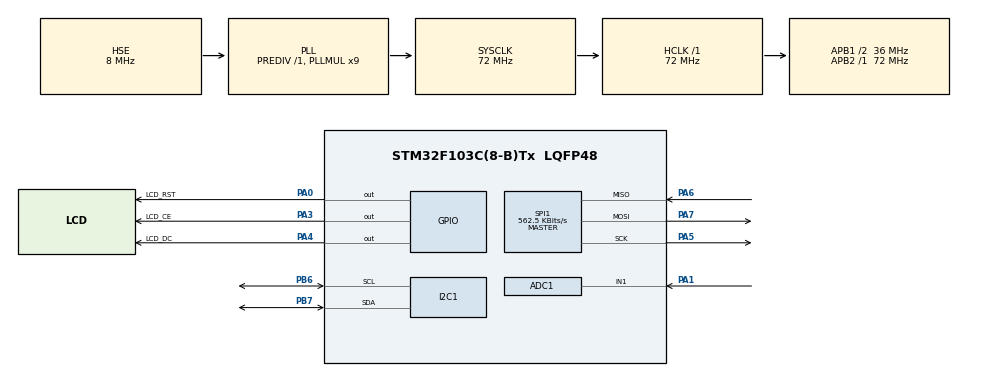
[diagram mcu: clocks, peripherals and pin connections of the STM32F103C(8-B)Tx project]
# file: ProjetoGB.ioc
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ADC1.Channel-0\#ChannelRegularConversion=ADC_CHANNEL_1
ADC1.NbrOfConversionFlag=1
ADC1.Rank-0\#ChannelRegularConversion=1
ADC1.SamplingTime-0\#ChannelRegularConversion=ADC_SAMPLETIME_1CYCLE_5
ADC1.master=1
FREERTOS.Mutexes01=i2cMutex,Dynamic,NULL
FREERTOS.Tasks01=iluminanciaTask,24,128,StartIluminanciaTask,Default,NULL,Dynamic,NULL,NULL;envioTask,24,128,StartEnvioTask,Default,NULL,Dynamic,NULL,NULL;umidadeTask,24,128,StartUmidadeTask,Default,NULL,Dynamic,NULL,NULL;temperaturaTask,24,128,StartTemperaturaTask,Default,NULL,Dynamic,NULL,NULL
Mcu.Family=STM32F1
Mcu.Name=STM32F103C(8-B)Tx
Mcu.Package=LQFP48
NVIC.PriorityGroup=NVIC_PRIORITYGROUP_4
NVIC.TIM1_UP_IRQn=true\:15\:0\:false\:false\:true\:false\:false\:true\:true
NVIC.TIM2_IRQn=true\:5\:0\:false\:false\:true\:true\:true\:true\:true
NVIC.TIM3_IRQn=true\:5\:0\:false\:false\:true\:true\:true\:true\:true
NVIC.TimeBase=TIM1_UP_IRQn
NVIC.TimeBaseIP=TIM1
PA0-WKUP.GPIO_Label=LCD_RST
PA0-WKUP.Signal=GPIO_Output
PA1.Signal=ADCx_IN1
PA13.Mode=Serial_Wire
PA13.Signal=SYS_JTMS-SWDIO
PA14.Mode=Serial_Wire
PA14.Signal=SYS_JTCK-SWCLK
PA3.GPIO_Label=LCD_CE
PA3.Signal=GPIO_Output
PA4.GPIO_Label=LCD_DC
PA4.Signal=GPIO_Output
PA5.Mode=Full_Duplex_Master
PA5.Signal=SPI1_SCK
PA6.Mode=Full_Duplex_Master
PA6.Signal=SPI1_MISO
PA7.Mode=Full_Duplex_Master
PA7.Signal=SPI1_MOSI
PB6.Mode=I2C
PB6.Signal=I2C1_SCL
PB7.Mode=I2C
PB7.Signal=I2C1_SDA
PD0-OSC_IN.Mode=HSE-External-Oscillator
PD0-OSC_IN.Signal=RCC_OSC_IN
PD1-OSC_OUT.Mode=HSE-External-Oscillator
PD1-OSC_OUT.Signal=RCC_OSC_OUT
ProjectManager.HeapSize=0x200
ProjectManager.StackSize=0x400
ProjectManager.TargetToolchain=STM32CubeIDE
RCC.ADCPresc=RCC_ADCPCLK2_DIV6
RCC.AHBFreq_Value=72000000
RCC.APB1CLKDivider=RCC_HCLK_DIV2
RCC.APB1Freq_Value=36000000
RCC.APB1TimFreq_Value=72000000
RCC.APB2Freq_Value=72000000
RCC.APB2TimFreq_Value=72000000
RCC.HCLKFreq_Value=72000000
RCC.PLLMUL=RCC_PLL_MUL9
RCC.PLLSourceVirtual=RCC_PLLSOURCE_HSE
RCC.SYSCLKFreq_VALUE=72000000
RCC.SYSCLKSource=RCC_SYSCLKSOURCE_PLLCLK
RCC.USBFreq_Value=72000000
SH.ADCx_IN1.0=ADC1_IN1,IN1
SPI1.BaudRatePrescaler=SPI_BAUDRATEPRESCALER_128
SPI1.CalculateBaudRate=562.5 KBits/s
SPI1.Direction=SPI_DIRECTION_2LINES
SPI1.Mode=SPI_MODE_MASTER
SPI1.VirtualType=VM_MASTER
TIM2.Period=12000
TIM2.Prescaler=60000
TIM3.Period=216
TIM3.Prescaler=60000
VP_FREERTOS_VS_CMSIS_V2.Mode=CMSIS_V2
VP_SYS_VS_tim1.Mode=TIM1
VP_TIM2_VS_ClockSourceINT.Mode=Internal
VP_TIM3_VS_ClockSourceINT.Mode=Internal
board=custom

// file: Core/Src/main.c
/* USER CODE BEGIN Header */
/**
  ******************************************************************************
  * @file           : main.c
  * @brief          : Main program body
  ******************************************************************************
  * @attention
  *
  * Copyright (c) 2022 STMicroelectronics.
  * All rights reserved.
  *
  * This software is licensed under terms that can be found in the LICENSE file
  * in the root directory of this software component.
  * If no LICENSE file comes with this software, it is provided AS-IS.
  *
  ******************************************************************************
  */
/* USER CODE END Header */
#include "main.h"
#include "cmsis_os.h"

/* USER CODE BEGIN Includes */
#include <stdio.h>
#include <string.h>
#include <stdbool.h>
#include "user_5110.h"
#include "bmp280.h"
/* USER CODE END Includes */

/* USER CODE BEGIN PD */
#define BH1750_I2CADDR 0x23 << 1
#define ESP32_I2C_ADRESS 0x55 << 1
/* USER CODE END PD */

 ADC_HandleTypeDef hadc1;

I2C_HandleTypeDef hi2c1;

SPI_HandleTypeDef hspi1;

TIM_HandleTypeDef htim2;
TIM_HandleTypeDef htim3;

/* Definitions for iluminanciaTask */
osThreadId_t iluminanciaTaskHandle;
const osThreadAttr_t iluminanciaTask_attributes = {
  .name = "iluminanciaTask",
  .stack_size = 128 * 4,
  .priority = (osPriority_t) osPriorityNormal,
};
/* Definitions for envioTask */
osThreadId_t envioTaskHandle;
const osThreadAttr_t envioTask_attributes = {
  .name = "envioTask",
  .stack_size = 128 * 4,
  .priority = (osPriority_t) osPriorityNormal,
};
/* Definitions for umidadeTask */
osThreadId_t umidadeTaskHandle;
const osThreadAttr_t umidadeTask_attributes = {
  .name = "umidadeTask",
  .stack_size = 128 * 4,
  .priority = (osPriority_t) osPriorityNormal,
};
/* Definitions for temperaturaTask */
osThreadId_t temperaturaTaskHandle;
const osThreadAttr_t temperaturaTask_attributes = {
  .name = "temperaturaTask",
  .stack_size = 128 * 4,
  .priority = (osPriority_t) osPriorityNormal,
};
/* Definitions for i2cMutex */
osMutexId_t i2cMutexHandle;
const osMutexAttr_t i2cMutex_attributes = {
  .name = "i2cMutex"
};
/* USER CODE BEGIN PV */
BMP280_HandleTypedef bmp280;

uint16_t ad_res = 0;

uint8_t dados[7];

uint8_t umidade = 0;
bool ler_umidade = false;
bool umidade_lida = false;

uint16_t iluminancia = 0;
bool ler_iluminancia = false;
bool iluminancia_lida = false;

int32_t temperatura = 0;
bool ler_temperatura = false;
bool temperatura_lida = false;

bool enviar_dados = false;
bool teste = true;

uint8_t rx_byte[2];
uint8_t tx_byte[2];
char lcd_string[20];
/* USER CODE END PV */

void SystemClock_Config(void);
static void MX_GPIO_Init(void);
static void MX_ADC1_Init(void);
static void MX_I2C1_Init(void);
static void MX_SPI1_Init(void);
static void MX_TIM2_Init(void);
static void MX_TIM3_Init(void);
void StartIluminanciaTask(void *argument);
void StartEnvioTask(void *argument);
void StartUmidadeTask(void *argument);
void StartTemperaturaTask(void *argument);

/* USER CODE BEGIN PFP */
uint map(uint in, uint in_min, uint in_max, uint out_min, uint out_max);
/* USER CODE END PFP */

int main(void)
{

  /* MCU Configuration--------------------------------------------------------*/

  /* Reset of all peripherals, Initializes the Flash interface and the Systick. */
  HAL_Init();

  /* Configure the system clock */
  SystemClock_Config();

  /* Initialize all configured peripherals */
  MX_GPIO_Init();
  MX_ADC1_Init();
  MX_I2C1_Init();
  MX_SPI1_Init();
  MX_TIM2_Init();
  MX_TIM3_Init();
  /* USER CODE BEGIN 2 */
  LCD_Init();

  HAL_ADCEx_Calibration_Start(&hadc1);

  bmp280.addr = BMP280_I2C_ADDRESS_0;
  bmp280.i2c = &hi2c1;
  bmp280.params.mode = BMP280_MODE_NORMAL;
  bmp280.params.filter = BMP280_FILTER_OFF;
  bmp280.params.oversampling_pressure = BMP280_SKIPPED;
  bmp280.params.oversampling_temperature = BMP280_ULTRA_LOW_POWER;
  bmp280.params.oversampling_humidity = BMP280_SKIPPED;
  bmp280.params.standby = BMP280_STANDBY_4000;

  while (!(bmp280_init(&bmp280, &bmp280.params)))
  {
	  HAL_Delay(2000);
  }

  HAL_TIM_Base_Start_IT(&htim2);
  /* USER CODE END 2 */

  /* Init scheduler */
  osKernelInitialize();
  /* Create the mutex(es) */
  /* creation of i2cMutex */
  i2cMutexHandle = osMutexNew(&i2cMutex_attributes);

  /* Create the thread(s) */
  /* creation of iluminanciaTask */
  iluminanciaTaskHandle = osThreadNew(StartIluminanciaTask, NULL, &iluminanciaTask_attributes);

  /* creation of envioTask */
  envioTaskHandle = osThreadNew(StartEnvioTask, NULL, &envioTask_attributes);

  /* creation of umidadeTask */
  umidadeTaskHandle = osThreadNew(StartUmidadeTask, NULL, &umidadeTask_attributes);

  /* creation of temperaturaTask */
  temperaturaTaskHandle = osThreadNew(StartTemperaturaTask, NULL, &temperaturaTask_attributes);

  /* Start scheduler */
  osKernelStart();

  /* We should never get here as control is now taken by the scheduler */
  /* Infinite loop */
  while (1)
  {

  }
}

void SystemClock_Config(void)
{
  RCC_OscInitTypeDef RCC_OscInitStruct = {0};
  RCC_ClkInitTypeDef RCC_ClkInitStruct = {0};
  RCC_PeriphCLKInitTypeDef PeriphClkInit = {0};

  /** Initializes the RCC Oscillators according to the specified parameters
  * in the RCC_OscInitTypeDef structure.
  */
  RCC_OscInitStruct.OscillatorType = RCC_OSCILLATORTYPE_HSE;
  RCC_OscInitStruct.HSEState = RCC_HSE_ON;
  RCC_OscInitStruct.HSEPredivValue = RCC_HSE_PREDIV_DIV1;
  RCC_OscInitStruct.HSIState = RCC_HSI_ON;
  RCC_OscInitStruct.PLL.PLLState = RCC_PLL_ON;
  RCC_OscInitStruct.PLL.PLLSource = RCC_PLLSOURCE_HSE;
  RCC_OscInitStruct.PLL.PLLMUL = RCC_PLL_MUL9;
  if (HAL_RCC_OscConfig(&RCC_OscInitStruct) != HAL_OK)
  {
    Error_Handler();
  }

  /** Initializes the CPU, AHB and APB buses clocks
  */
  RCC_ClkInitStruct.ClockType = RCC_CLOCKTYPE_HCLK|RCC_CLOCKTYPE_SYSCLK
                              |RCC_CLOCKTYPE_PCLK1|RCC_CLOCKTYPE_PCLK2;
  RCC_ClkInitStruct.SYSCLKSource = RCC_SYSCLKSOURCE_PLLCLK;
  RCC_ClkInitStruct.AHBCLKDivider = RCC_SYSCLK_DIV1;
  RCC_ClkInitStruct.APB1CLKDivider = RCC_HCLK_DIV2;
  RCC_ClkInitStruct.APB2CLKDivider = RCC_HCLK_DIV1;

  if (HAL_RCC_ClockConfig(&RCC_ClkInitStruct, FLASH_LATENCY_2) != HAL_OK)
  {
    Error_Handler();
  }
  PeriphClkInit.PeriphClockSelection = RCC_PERIPHCLK_ADC;
  PeriphClkInit.AdcClockSelection = RCC_ADCPCLK2_DIV6;
  if (HAL_RCCEx_PeriphCLKConfig(&PeriphClkInit) != HAL_OK)
  {
    Error_Handler();
  }
}

static void MX_ADC1_Init(void)
{

  ADC_ChannelConfTypeDef sConfig = {0};

  /** Common config
  */
  hadc1.Instance = ADC1;
  hadc1.Init.ScanConvMode = ADC_SCAN_DISABLE;
  hadc1.Init.ContinuousConvMode = DISABLE;
  hadc1.Init.DiscontinuousConvMode = DISABLE;
  hadc1.Init.ExternalTrigConv = ADC_SOFTWARE_START;
  hadc1.Init.DataAlign = ADC_DATAALIGN_RIGHT;
  hadc1.Init.NbrOfConversion = 1;
  if (HAL_ADC_Init(&hadc1) != HAL_OK)
  {
    Error_Handler();
  }

  /** Configure Regular Channel
  */
  sConfig.Channel = ADC_CHANNEL_1;
  sConfig.Rank = ADC_REGULAR_RANK_1;
  sConfig.SamplingTime = ADC_SAMPLETIME_1CYCLE_5;
  if (HAL_ADC_ConfigChannel(&hadc1, &sConfig) != HAL_OK)
  {
    Error_Handler();
  }

}

static void MX_I2C1_Init(void)
{

  hi2c1.Instance = I2C1;
  hi2c1.Init.ClockSpeed = 100000;
  hi2c1.Init.DutyCycle = I2C_DUTYCYCLE_2;
  hi2c1.Init.OwnAddress1 = 0;
  hi2c1.Init.AddressingMode = I2C_ADDRESSINGMODE_7BIT;
  hi2c1.Init.DualAddressMode = I2C_DUALADDRESS_DISABLE;
  hi2c1.Init.OwnAddress2 = 0;
  hi2c1.Init.GeneralCallMode = I2C_GENERALCALL_DISABLE;
  hi2c1.Init.NoStretchMode = I2C_NOSTRETCH_DISABLE;
  if (HAL_I2C_Init(&hi2c1) != HAL_OK)
  {
    Error_Handler();
  }

}

static void MX_SPI1_Init(void)
{

  /* SPI1 parameter configuration*/
  hspi1.Instance = SPI1;
  hspi1.Init.Mode = SPI_MODE_MASTER;
  hspi1.Init.Direction = SPI_DIRECTION_2LINES;
  hspi1.Init.DataSize = SPI_DATASIZE_8BIT;
  hspi1.Init.CLKPolarity = SPI_POLARITY_LOW;
  hspi1.Init.CLKPhase = SPI_PHASE_1EDGE;
  hspi1.Init.NSS = SPI_NSS_SOFT;
  hspi1.Init.BaudRatePrescaler = SPI_BAUDRATEPRESCALER_128;
  hspi1.Init.FirstBit = SPI_FIRSTBIT_MSB;
  hspi1.Init.TIMode = SPI_TIMODE_DISABLE;
  hspi1.Init.CRCCalculation = SPI_CRCCALCULATION_DISABLE;
  hspi1.Init.CRCPolynomial = 10;
  if (HAL_SPI_Init(&hspi1) != HAL_OK)
  {
    Error_Handler();
  }

}

static void MX_TIM2_Init(void)
{

  TIM_ClockConfigTypeDef sClockSourceConfig = {0};
  TIM_MasterConfigTypeDef sMasterConfig = {0};

  htim2.Instance = TIM2;
  htim2.Init.Prescaler = 60000;
  htim2.Init.CounterMode = TIM_COUNTERMODE_UP;
  htim2.Init.Period = 12000;
  htim2.Init.ClockDivision = TIM_CLOCKDIVISION_DIV1;
  htim2.Init.AutoReloadPreload = TIM_AUTORELOAD_PRELOAD_DISABLE;
  if (HAL_TIM_Base_Init(&htim2) != HAL_OK)
  {
    Error_Handler();
  }
  sClockSourceConfig.ClockSource = TIM_CLOCKSOURCE_INTERNAL;
  if (HAL_TIM_ConfigClockSource(&htim2, &sClockSourceConfig) != HAL_OK)
  {
    Error_Handler();
  }
  sMasterConfig.MasterOutputTrigger = TIM_TRGO_RESET;
  sMasterConfig.MasterSlaveMode = TIM_MASTERSLAVEMODE_DISABLE;
  if (HAL_TIMEx_MasterConfigSynchronization(&htim2, &sMasterConfig) != HAL_OK)
  {
    Error_Handler();
  }

}

static void MX_TIM3_Init(void)
{

  TIM_ClockConfigTypeDef sClockSourceConfig = {0};
  TIM_MasterConfigTypeDef sMasterConfig = {0};

  htim3.Instance = TIM3;
  htim3.Init.Prescaler = 60000;
  htim3.Init.CounterMode = TIM_COUNTERMODE_UP;
  htim3.Init.Period = 216;
  htim3.Init.ClockDivision = TIM_CLOCKDIVISION_DIV1;
  htim3.Init.AutoReloadPreload = TIM_AUTORELOAD_PRELOAD_DISABLE;
  if (HAL_TIM_Base_Init(&htim3) != HAL_OK)
  {
    Error_Handler();
  }
  sClockSourceConfig.ClockSource = TIM_CLOCKSOURCE_INTERNAL;
  if (HAL_TIM_ConfigClockSource(&htim3, &sClockSourceConfig) != HAL_OK)
  {
    Error_Handler();
  }
  sMasterConfig.MasterOutputTrigger = TIM_TRGO_RESET;
  sMasterConfig.MasterSlaveMode = TIM_MASTERSLAVEMODE_DISABLE;
  if (HAL_TIMEx_MasterConfigSynchronization(&htim3, &sMasterConfig) != HAL_OK)
  {
    Error_Handler();
  }
  /* USER CODE BEGIN TIM3_Init 2 */
  __HAL_TIM_CLEAR_FLAG(&htim3, TIM_SR_UIF);
  /* USER CODE END TIM3_Init 2 */

}

static void MX_GPIO_Init(void)
{
  GPIO_InitTypeDef GPIO_InitStruct = {0};

  /* GPIO Ports Clock Enable */
  __HAL_RCC_GPIOD_CLK_ENABLE();
  __HAL_RCC_GPIOA_CLK_ENABLE();
  __HAL_RCC_GPIOB_CLK_ENABLE();

  /*Configure GPIO pin Output Level */
  HAL_GPIO_WritePin(GPIOA, LCD_RST_Pin|LCD_CE_Pin|LCD_DC_Pin, GPIO_PIN_RESET);

  /*Configure GPIO pins : LCD_RST_Pin LCD_CE_Pin LCD_DC_Pin */
  GPIO_InitStruct.Pin = LCD_RST_Pin|LCD_CE_Pin|LCD_DC_Pin;
  GPIO_InitStruct.Mode = GPIO_MODE_OUTPUT_PP;
  GPIO_InitStruct.Pull = GPIO_NOPULL;
  GPIO_InitStruct.Speed = GPIO_SPEED_FREQ_LOW;
  HAL_GPIO_Init(GPIOA, &GPIO_InitStruct);

}

/* USER CODE BEGIN 4 */
uint map(uint in, uint in_min, uint in_max, uint out_min, uint out_max)
{
	return (in - in_min) * (out_max - out_min) / (in_max - in_min) + out_min;
}
/*void HAL_TIM_PeriodElapsedCallback(TIM_HandleTypeDef *htim)
{
	if (htim->Instance == TIM2)
	{
		HAL_GPIO_TogglePin(LED_GPIO_Port, LED_Pin);
	}
}*/
/* USER CODE END 4 */

void StartIluminanciaTask(void *argument)
{
  /* USER CODE BEGIN 5 */
  /* Infinite loop */
  for(;;)
  {
	if(ler_iluminancia)
	{
		ler_iluminancia = false;

		osMutexAcquire(i2cMutexHandle, osWaitForever);
		tx_byte[0] = 0x10;
		HAL_I2C_Master_Transmit(&hi2c1, BH1750_I2CADDR, tx_byte, 1, 100);
		osMutexRelease(i2cMutexHandle);

		HAL_TIM_Base_Start_IT(&htim3);
	}
    osDelay(1);
  }
  /* USER CODE END 5 */
}

void StartEnvioTask(void *argument)
{
  /* USER CODE BEGIN StartEnvioTask */
  /* Infinite loop */
  for(;;)
  {
	if(umidade_lida && temperatura_lida && iluminancia_lida)
	{
		umidade_lida = false;
		temperatura_lida = false;
		iluminancia_lida = false;

		LCD_Clear();
		sprintf(lcd_string, "Umidade: %d", umidade);
		LCD_Write_String(0, 0, lcd_string);
		sprintf(lcd_string, "Temp: %ld", temperatura);
		LCD_Write_String(0, 1, lcd_string);
		sprintf(lcd_string, "Lux: %u", iluminancia);
		LCD_Write_String(0, 2, lcd_string);

		dados[0] = umidade;
		dados[1] = temperatura >> 24;
		dados[2] = temperatura >> 16;
		dados[3] = temperatura >> 8;
		dados[4] = temperatura;
		dados[5] = iluminancia >> 8;
		dados[6] = iluminancia;

		osMutexAcquire(i2cMutexHandle, osWaitForever);
		HAL_I2C_Master_Transmit(&hi2c1, ESP32_I2C_ADRESS, dados, 7, 100);
		osMutexRelease(i2cMutexHandle);
	}
    osDelay(1);
  }
  /* USER CODE END StartEnvioTask */
}

void StartUmidadeTask(void *argument)
{
  /* USER CODE BEGIN StartUmidadeTask */
  /* Infinite loop */
  for(;;)
  {
	if(ler_umidade)
	{
		ler_umidade = false;

		HAL_ADC_Start(&hadc1);
		HAL_ADC_PollForConversion(&hadc1, 1);
		ad_res = HAL_ADC_GetValue(&hadc1);

		umidade = (uint8_t)(100 - map(ad_res, 0, 4095, 0, 100));

		umidade_lida = true;
	}
    osDelay(1);
  }
  /* USER CODE END StartUmidadeTask */
}

void StartTemperaturaTask(void *argument)
{
  /* USER CODE BEGIN StartTemperaturaTask */
  /* Infinite loop */
  for(;;)
  {
	if(ler_temperatura)
	{
		ler_temperatura = false;

		osMutexAcquire(i2cMutexHandle, osWaitForever);
		bmp280_read_fixed_temp(&bmp280, &temperatura);
		osMutexRelease(i2cMutexHandle);

		temperatura_lida = true;
	}
    osDelay(1);
  }
  /* USER CODE END StartTemperaturaTask */
}

void HAL_TIM_PeriodElapsedCallback(TIM_HandleTypeDef *htim)
{
  /* USER CODE BEGIN Callback 0 */
	if (htim->Instance == TIM2)
	{
		ler_umidade = true;
		ler_temperatura = true;
		ler_iluminancia = true;
	}
	if (htim->Instance == TIM3)
	{
		HAL_TIM_Base_Stop_IT(&htim3);

		osMutexAcquire(i2cMutexHandle, osWaitForever);
		HAL_I2C_Master_Receive(&hi2c1, BH1750_I2CADDR, rx_byte, 2, 100);
		osMutexRelease(i2cMutexHandle);

		iluminancia = rx_byte[0] << 8 | rx_byte[1];
		iluminancia /= 1.2;

		iluminancia_lida = true;
	}
  /* USER CODE END Callback 0 */
  if (htim->Instance == TIM1) {
    HAL_IncTick();
  }
}

void Error_Handler(void)
{
  __disable_irq();
  while (1)
  {
  }
}
